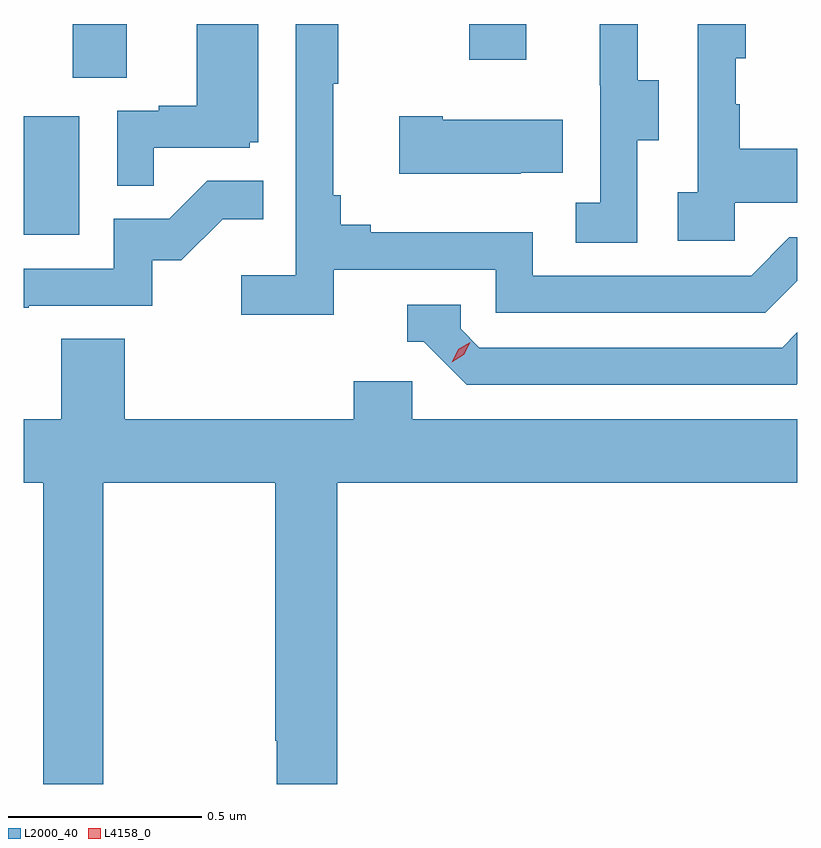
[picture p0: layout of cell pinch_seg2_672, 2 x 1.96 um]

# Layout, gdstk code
import gdstk
lib = gdstk.Library(unit=1e-6, precision=1e-09)
def R(c, l, rs):  # rectangles x0, y0, x1, y1
    for r in rs: c.add(gdstk.rectangle(r[:2], r[2:], *l))
def P(c, l, *ps):  # polygons
    for p in ps: c.add(gdstk.Polygon(p, *l))
L2000_40 = (2000, 40)
L4158_0 = (4158, 0)

pinch_seg2_672 = lib.new_cell('pinch_seg2_672')
R(pinch_seg2_672, L2000_40, [(1042.684,600.324,1042.828,600.631), (1042.811,600.73,1042.951,600.869), (1043.836,600.777,1043.983,600.869)])
P(pinch_seg2_672, L2000_40, [(1043.021,600.549),(1043.268,600.549),(1043.268,600.564),(1043.29,600.564),(1043.29,600.869),(1043.132,600.869),(1043.132,600.658),(1043.033,600.658),(1043.033,600.645),(1042.926,600.645),(1042.926,600.451),(1043.021,600.451)],
  [(1043.486,600.234),(1043.904,600.234),(1043.904,600.123),(1044.601,600.123),(1044.684,600.206),(1044.684,600.318),(1044.663,600.318),(1044.564,600.219),(1044,600.219),(1044,600.331),(1043.581,600.331),(1043.581,600.35),(1043.504,600.35),(1043.504,600.427),(1043.485,600.427),(1043.485,600.715),(1043.497,600.715),(1043.497,600.869),(1043.388,600.869),(1043.388,600.22),(1043.247,600.22),(1043.247,600.118),(1043.486,600.118)],
  [(1044.522,600.407),(1044.684,600.407),(1044.684,600.547),(1044.535,600.547),(1044.535,600.662),(1044.525,600.662),(1044.525,600.78),(1044.55,600.78),(1044.55,600.869),(1044.426,600.869),(1044.426,600.434),(1044.375,600.434),(1044.375,600.309),(1044.522,600.309)],
  [(1044.27,600.568),(1044.325,600.568),(1044.325,600.723),(1044.271,600.723),(1044.271,600.869),(1044.173,600.869),(1044.173,600.711),(1044.174,600.711),(1044.174,600.407),(1044.111,600.407),(1044.111,600.304),(1044.27,600.304)],
  [(1043.969,600.485),(1044.077,600.485),(1044.077,600.622),(1043.767,600.622),(1043.767,600.63),(1043.655,600.63),(1043.655,600.482),(1043.969,600.482)],
  [(1042.697,600.141),(1043.016,600.141),(1043.016,600.258),(1043.092,600.258),(1043.199,600.365),(1043.303,600.365),(1043.303,600.464),(1043.159,600.464),(1043.061,600.366),(1042.917,600.366),(1042.917,600.237),(1042.684,600.237),(1042.684,600.136),(1042.697,600.136)],
  [(1044.684,599.939),(1044.684,600.072),(1044.645,600.033),(1043.862,600.033),(1043.814,600.081),(1043.814,600.144),(1043.675,600.144),(1043.675,600.048),(1043.718,600.048),(1043.829,599.937),(1044.682,599.937)],
  [(1042.89,599.684),(1043.335,599.684),(1043.335,599.017),(1043.339,599.017),(1043.339,598.905),(1043.495,598.905),(1043.495,599.684),(1044.684,599.684),(1044.684,599.848),(1043.688,599.848),(1043.688,599.946),(1043.537,599.946),(1043.537,599.848),(1042.946,599.848),(1042.946,600.056),(1042.781,600.056),(1042.781,599.848),(1042.684,599.848),(1042.684,599.684),(1042.735,599.684),(1042.735,598.905),(1042.89,598.905)])
P(pinch_seg2_672, L4158_0, [(1043.791,599.995),(1043.791,599.995),(1043.807,600.028),(1043.838,600.047),(1043.838,600.047),(1043.838,600.047),(1043.822,600.014),(1043.791,599.995)])

lib.write_gds('pinch_seg2_672.gds')
